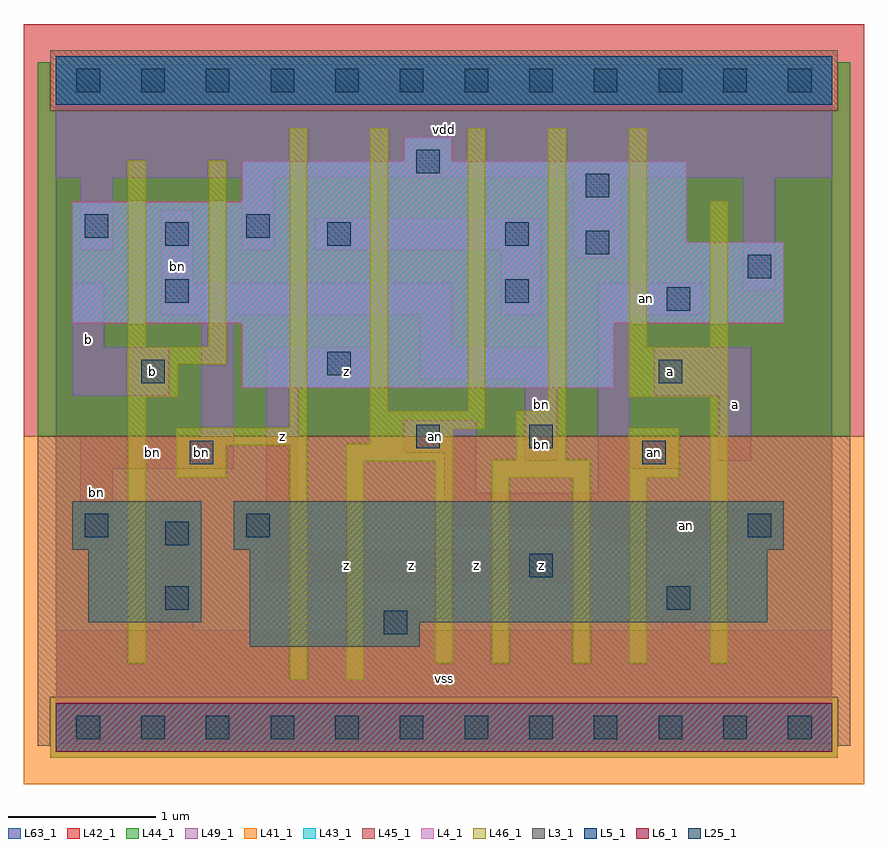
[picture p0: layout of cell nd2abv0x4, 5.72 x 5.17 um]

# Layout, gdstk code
import gdstk
lib = gdstk.Library(unit=1e-6, precision=1e-09)
def R(c, l, rs):  # rectangles x0, y0, x1, y1
    for r in rs: c.add(gdstk.rectangle(r[:2], r[2:], *l))
def A(c, l, x, y, w, h, nx, ny, dx, dy):  # array of equal rectangles
    R(c, l, [(x+i*dx, y+j*dy, x+i*dx+w, y+j*dy+h) for i in range(nx) for j in range(ny)])
L3_1 = (3, 1)
L4_1 = (4, 1)
L5_1 = (5, 1)
L6_1 = (6, 1)
L25_1 = (25, 1)
L41_1 = (41, 1)
L42_1 = (42, 1)
L43_1 = (43, 1)
L44_1 = (44, 1)
L45_1 = (45, 1)
L46_1 = (46, 1)
L49_1 = (49, 1)
L63_1 = (63, 1)

nd2abv0x4 = lib.new_cell('nd2abv0x4')
R(nd2abv0x4, L3_1, [(1.32,0.55,2.475,0.715), (0.22,0.715,0.99,1.21), (1.32,0.715,4.84,1.21), (0.11,1.21,0.99,1.54), (1.21,1.21,4.95,1.54)])
R(nd2abv0x4, L4_1, [(1.265,2.31,3.795,2.75), (0.11,2.75,4.95,3.3), (0.11,3.3,4.29,3.575), (1.265,3.575,4.29,3.85), (2.365,3.85,2.695,4.015)])
R(nd2abv0x4, L5_1, [(0,4.235,5.28,4.565)])
R(nd2abv0x4, L6_1, [(0,-0.165,5.28,0.165)])
A(nd2abv0x4, L25_1, 0.14, -0.08, 0.16, 0.16, 12, 2, 0.44, 4.4)
R(nd2abv0x4, L25_1, [(2.23,0.635,2.39,0.795), (0.745,0.8,0.905,0.96), (4.155,0.8,4.315,0.96), (3.22,1.02,3.38,1.18), (0.745,1.24,0.905,1.4), (0.195,1.295,0.355,1.455), (1.295,1.295,1.455,1.455), (4.705,1.295,4.865,1.455), (0.91,1.79,1.07,1.95), (3.99,1.79,4.15,1.95), (2.45,1.9,2.61,2.06), (3.22,1.9,3.38,2.06), (0.58,2.34,0.74,2.5), (4.1,2.34,4.26,2.5), (1.845,2.395,2.005,2.555), (4.155,2.835,4.315,2.995), (0.745,2.89,0.905,3.05), (3.055,2.89,3.215,3.05), (4.705,3.055,4.865,3.215), (3.605,3.22,3.765,3.38), (0.745,3.275,0.905,3.435), (1.845,3.275,2.005,3.435), (3.055,3.275,3.215,3.435), (0.195,3.33,0.355,3.49), (1.295,3.33,1.455,3.49), (3.605,3.605,3.765,3.765), (2.45,3.77,2.61,3.93)])
R(nd2abv0x4, L41_1, [(-0.22,-0.385,5.5,1.98)])
R(nd2abv0x4, L42_1, [(-0.22,1.98,5.5,4.785)])
R(nd2abv0x4, L43_1, [(0,-0.165,5.28,0.165), (1.32,0.55,2.475,0.715), (0.22,0.715,0.99,1.21), (1.32,0.715,4.84,1.21), (0.11,1.21,0.99,1.54), (1.21,1.21,4.95,1.54), (1.265,2.31,3.795,2.75), (0.11,2.75,4.95,3.3), (0.11,3.3,4.29,3.575), (1.265,3.575,4.29,3.85), (2.365,3.85,2.695,4.015), (0,4.235,5.28,4.565)])
R(nd2abv0x4, L44_1, [(-0.04,-0.205,5.32,0.205), (-0.125,1.98,5.405,4.195), (-0.125,4.195,-0.04,4.525), (5.32,4.195,5.405,4.525)])
R(nd2abv0x4, L45_1, [(-0.125,-0.125,-0.04,0.205), (5.32,-0.125,5.405,0.205), (-0.125,0.205,5.405,1.98), (-0.04,4.195,5.32,4.605)])
R(nd2abv0x4, L46_1, [(1.59,0.325,1.71,1.92), (1.975,0.325,2.095,1.81), (0.49,0.435,0.61,2.25), (2.58,0.435,2.7,1.81), (2.965,0.435,3.085,1.7), (3.515,0.435,3.635,1.7), (3.9,0.435,4.02,1.7), (4.45,0.435,4.57,2.25), (0.82,1.7,1.16,1.92), (2.965,1.7,3.635,1.82), (3.9,1.7,4.24,2.04), (1.975,1.81,2.7,1.93), (3.13,1.82,3.47,2.15), (0.82,1.92,1.71,2.04), (2.14,1.93,2.7,2.03), (2.14,2.03,2.92,2.15), (1.59,2.04,1.71,4.075), (2.14,2.15,2.26,4.075), (2.8,2.15,2.92,4.075), (3.35,2.15,3.47,4.075), (0.49,2.25,0.83,2.47), (3.9,2.25,4.57,2.59), (0.49,2.47,1.16,2.59), (0.49,2.59,0.61,3.855), (1.04,2.59,1.16,3.855), (3.9,2.59,4.02,4.075), (4.45,2.59,4.57,3.58)])
R(nd2abv0x4, L49_1, [(0,-0.11,5.28,0.66), (0.715,0.66,0.935,1.485), (2.145,0.66,2.475,0.825), (4.125,0.66,4.345,1.045), (1.43,0.99,3.465,1.21), (0.165,1.21,0.385,1.76), (1.43,1.21,1.65,1.265), (1.21,1.265,1.65,1.485), (3.685,1.265,4.95,1.375), (2.64,1.375,4.95,1.485), (1.43,1.485,1.65,2.31), (2.64,1.485,3.905,1.595), (2.64,1.595,2.86,1.87), (3.685,1.595,3.905,1.76), (0.165,1.76,1.21,1.98), (3.685,1.76,4.235,1.98), (3.19,1.815,3.41,2.365), (4.51,1.815,4.73,2.255), (2.365,1.87,2.86,2.09), (0.99,1.98,1.21,2.805), (3.685,1.98,3.905,2.805), (0.11,2.255,0.77,2.585), (4.07,2.255,4.73,2.585), (1.43,2.31,2.145,2.585), (2.475,2.365,3.41,2.585), (0.11,2.585,0.33,3.025), (2.475,2.585,2.695,2.805), (0.715,2.805,2.695,3.025), (3.025,2.805,3.3,3.245), (3.685,2.805,4.4,3.025), (4.675,2.97,4.895,3.74), (0.715,3.025,0.935,3.52), (3.52,3.19,3.85,3.74), (0.165,3.245,0.385,3.74), (1.265,3.245,1.485,3.74), (1.76,3.245,3.3,3.465), (0,3.74,5.28,4.51)])
R(nd2abv0x4, L63_1, [(0,0,5.28,4.4)])
nd2abv0x4.add(gdstk.Label('bn', (0.99,1.87), layer=49, texttype=1))
nd2abv0x4.add(gdstk.Label('bn', (3.3,1.925), layer=49, texttype=1))
nd2abv0x4.add(gdstk.Label('an', (4.07,1.87), layer=49, texttype=1))
nd2abv0x4.add(gdstk.Label('bn', (0.275,1.595), layer=49, texttype=1))
nd2abv0x4.add(gdstk.Label('b', (0.66,2.42), layer=49, texttype=1))
nd2abv0x4.add(gdstk.Label('b', (0.22,2.64), layer=49, texttype=1))
nd2abv0x4.add(gdstk.Label('bn', (0.825,3.135), layer=49, texttype=1))
nd2abv0x4.add(gdstk.Label('bn', (0.66,1.87), layer=49, texttype=1))
nd2abv0x4.add(gdstk.Label('z', (1.54,1.98), layer=49, texttype=1))
nd2abv0x4.add(gdstk.Label('vss', (2.64,0.33), layer=49, texttype=1))
nd2abv0x4.add(gdstk.Label('z', (1.98,1.1), layer=49, texttype=1))
nd2abv0x4.add(gdstk.Label('z', (2.86,1.1), layer=49, texttype=1))
nd2abv0x4.add(gdstk.Label('z', (2.42,1.1), layer=49, texttype=1))
nd2abv0x4.add(gdstk.Label('z', (1.98,2.42), layer=49, texttype=1))
nd2abv0x4.add(gdstk.Label('an', (2.585,1.98), layer=49, texttype=1))
nd2abv0x4.add(gdstk.Label('vdd', (2.64,4.07), layer=49, texttype=1))
nd2abv0x4.add(gdstk.Label('z', (3.3,1.1), layer=49, texttype=1))
nd2abv0x4.add(gdstk.Label('an', (3.96,1.87), layer=49, texttype=1))
nd2abv0x4.add(gdstk.Label('bn', (3.3,2.2), layer=49, texttype=1))
nd2abv0x4.add(gdstk.Label('a', (4.18,2.42), layer=49, texttype=1))
nd2abv0x4.add(gdstk.Label('an', (4.29,1.375), layer=49, texttype=1))
nd2abv0x4.add(gdstk.Label('a', (4.62,2.2), layer=49, texttype=1))
nd2abv0x4.add(gdstk.Label('an', (4.015,2.915), layer=49, texttype=1))

lib.write_gds('nd2abv0x4.gds')
